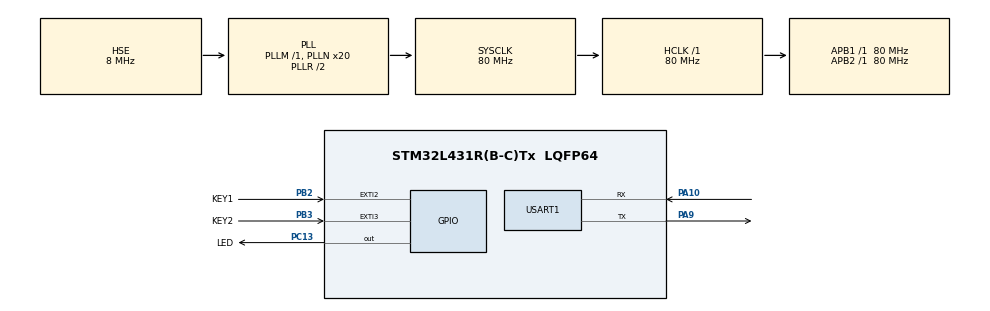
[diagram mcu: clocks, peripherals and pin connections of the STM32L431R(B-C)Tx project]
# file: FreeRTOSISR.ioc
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Dma.Request0=USART1_RX
Dma.Request1=USART1_TX
Dma.USART1_RX.0.Direction=DMA_PERIPH_TO_MEMORY
Dma.USART1_RX.0.Instance=DMA1_Channel5
Dma.USART1_RX.0.MemDataAlignment=DMA_MDATAALIGN_BYTE
Dma.USART1_RX.0.MemInc=DMA_MINC_ENABLE
Dma.USART1_RX.0.Mode=DMA_CIRCULAR
Dma.USART1_RX.0.PeriphDataAlignment=DMA_PDATAALIGN_BYTE
Dma.USART1_RX.0.PeriphInc=DMA_PINC_DISABLE
Dma.USART1_RX.0.Priority=DMA_PRIORITY_LOW
Dma.USART1_TX.1.Direction=DMA_MEMORY_TO_PERIPH
Dma.USART1_TX.1.Instance=DMA1_Channel4
Dma.USART1_TX.1.MemDataAlignment=DMA_MDATAALIGN_BYTE
Dma.USART1_TX.1.MemInc=DMA_MINC_ENABLE
Dma.USART1_TX.1.Mode=DMA_NORMAL
Dma.USART1_TX.1.PeriphDataAlignment=DMA_PDATAALIGN_BYTE
Dma.USART1_TX.1.PeriphInc=DMA_PINC_DISABLE
Dma.USART1_TX.1.Priority=DMA_PRIORITY_LOW
FREERTOS.BinarySemaphores01=BinarySem,Dynamic,NULL
FREERTOS.Queues01=TestQueue,4,uint16_t,0,Dynamic,NULL,NULL
FREERTOS.Tasks01=LEDTASK,0,128,LedTask,Default,NULL,Dynamic,NULL,NULL;KEYTASK,-3,128,KeyTask,Default,NULL,Dynamic,NULL,NULL
Mcu.Family=STM32L4
Mcu.Name=STM32L431R(B-C)Tx
Mcu.Package=LQFP64
NVIC.DMA1_Channel4_IRQn=true\:5\:0\:false\:false\:true\:true\:false\:true
NVIC.DMA1_Channel5_IRQn=true\:7\:0\:true\:false\:true\:true\:false\:true
NVIC.EXTI2_IRQn=true\:5\:0\:true\:false\:true\:true\:true\:true
NVIC.EXTI3_IRQn=true\:6\:0\:true\:false\:true\:true\:true\:true
NVIC.PriorityGroup=NVIC_PRIORITYGROUP_4
NVIC.TIM1_UP_TIM16_IRQn=true\:0\:0\:false\:false\:true\:false\:false\:true
NVIC.TimeBase=TIM1_UP_TIM16_IRQn
NVIC.TimeBaseIP=TIM1
NVIC.USART1_IRQn=true\:5\:0\:false\:false\:true\:true\:true\:true
PA10.Mode=Asynchronous
PA10.Signal=USART1_RX
PA9.Mode=Asynchronous
PA9.Signal=USART1_TX
PB2.GPIO_Label=KEY1
PB2.GPIO_ModeDefaultEXTI=GPIO_MODE_IT_FALLING
PB2.GPIO_PuPd=GPIO_PULLUP
PB2.Signal=GPXTI2
PB3\ (JTDO-TRACESWO).GPIO_Label=KEY2
PB3\ (JTDO-TRACESWO).GPIO_ModeDefaultEXTI=GPIO_MODE_IT_FALLING
PB3\ (JTDO-TRACESWO).GPIO_PuPd=GPIO_PULLUP
PB3\ (JTDO-TRACESWO).Signal=GPXTI3
PC13.GPIO_Label=LED
PC13.Signal=GPIO_Output
PC14-OSC32_IN\ (PC14).Mode=LSE-External-Oscillator
PC14-OSC32_IN\ (PC14).Signal=RCC_OSC32_IN
PC15-OSC32_OUT\ (PC15).Mode=LSE-External-Oscillator
PC15-OSC32_OUT\ (PC15).Signal=RCC_OSC32_OUT
PH0-OSC_IN\ (PH0).Mode=HSE-External-Oscillator
PH0-OSC_IN\ (PH0).Signal=RCC_OSC_IN
PH1-OSC_OUT\ (PH1).Mode=HSE-External-Oscillator
PH1-OSC_OUT\ (PH1).Signal=RCC_OSC_OUT
ProjectManager.HeapSize=0x200
ProjectManager.StackSize=0x400
ProjectManager.TargetToolchain=SW4STM32
RCC.ADCFreq_Value=32000000
RCC.AHBFreq_Value=80000000
RCC.APB1Freq_Value=80000000
RCC.APB1TimFreq_Value=80000000
RCC.APB2Freq_Value=80000000
RCC.APB2TimFreq_Value=80000000
RCC.CortexFreq_Value=80000000
RCC.HCLKFreq_Value=80000000
RCC.HSE_VALUE=8000000
RCC.HSI48_VALUE=48000000
RCC.HSI_VALUE=16000000
RCC.MSI_VALUE=4000000
RCC.PLLN=20
RCC.PLLSourceVirtual=RCC_PLLSOURCE_HSE
RCC.SYSCLKFreq_VALUE=80000000
RCC.SYSCLKSource=RCC_SYSCLKSOURCE_PLLCLK
RCC.VCOOutputFreq_Value=160000000
USART1.VirtualMode-Asynchronous=VM_ASYNC
VP_FREERTOS_VS_CMSIS_V1.Mode=CMSIS_V1
VP_SYS_VS_tim1.Mode=TIM1
board=custom

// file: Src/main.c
/* USER CODE BEGIN Header */
/**
  ******************************************************************************
  * @file           : main.c
  * @brief          : Main program body
  ******************************************************************************
  * @attention
  *
  * <h2><center>&copy; Copyright (c) 2020 STMicroelectronics.
  * All rights reserved.</center></h2>
  *
  * This software component is licensed by ST under Ultimate Liberty license
  * SLA0044, the "License"; You may not use this file except in compliance with
  * the License. You may obtain a copy of the License at:
  *                             www.st.com/SLA0044
  *
  ******************************************************************************
  */
/* USER CODE END Header */

#include "main.h"
#include "cmsis_os.h"
#include "dma.h"
#include "usart.h"
#include "gpio.h"

/* USER CODE BEGIN Includes */
#if 1
#include <stdio.h>
int _write(int fd, char *ptr, int len)
{
    HAL_UART_Transmit(&huart1,(uint8_t*)ptr, len, 0xFFFF);
    return len;
}

#endif
/* USER CODE END Includes */

/* USER CODE BEGIN PTD */
char Usart_Rx_Buf;
/* USER CODE END PTD */

void SystemClock_Config(void);
void MX_FREERTOS_Init(void);

int main(void)
{

  /* MCU Configuration--------------------------------------------------------*/

  /* Reset of all peripherals, Initializes the Flash interface and the Systick. */
  HAL_Init();

  /* Configure the system clock */
  SystemClock_Config();

  /* Initialize all configured peripherals */
  MX_GPIO_Init();
  MX_DMA_Init();
  MX_USART1_UART_Init();
  /* USER CODE BEGIN 2 */
  HAL_UART_Receive_IT(&huart1, &Usart_Rx_Buf, 1);
  HAL_UART_Receive_DMA(&huart1, &Usart_Rx_Buf, 1); //使能DMA接收

  printf("FreeRTOS ISR Demo\n");
  HAL_UART_Transmit_DMA(&huart1, "aaaa\n", 5);

  /* USER CODE END 2 */

  /* Call init function for freertos objects (in freertos.c) */
  MX_FREERTOS_Init();

  /* Start scheduler */
  osKernelStart();

  /* We should never get here as control is now taken by the scheduler */

  /* Infinite loop */
  while (1)
  {

  }
}

void SystemClock_Config(void)
{
  RCC_OscInitTypeDef RCC_OscInitStruct = {0};
  RCC_ClkInitTypeDef RCC_ClkInitStruct = {0};
  RCC_PeriphCLKInitTypeDef PeriphClkInit = {0};

  /** Initializes the CPU, AHB and APB busses clocks
  */
  RCC_OscInitStruct.OscillatorType = RCC_OSCILLATORTYPE_HSE;
  RCC_OscInitStruct.HSEState = RCC_HSE_ON;
  RCC_OscInitStruct.PLL.PLLState = RCC_PLL_ON;
  RCC_OscInitStruct.PLL.PLLSource = RCC_PLLSOURCE_HSE;
  RCC_OscInitStruct.PLL.PLLM = 1;
  RCC_OscInitStruct.PLL.PLLN = 20;
  RCC_OscInitStruct.PLL.PLLP = RCC_PLLP_DIV7;
  RCC_OscInitStruct.PLL.PLLQ = RCC_PLLQ_DIV2;
  RCC_OscInitStruct.PLL.PLLR = RCC_PLLR_DIV2;
  if (HAL_RCC_OscConfig(&RCC_OscInitStruct) != HAL_OK)
  {
    Error_Handler();
  }
  /** Initializes the CPU, AHB and APB busses clocks
  */
  RCC_ClkInitStruct.ClockType = RCC_CLOCKTYPE_HCLK|RCC_CLOCKTYPE_SYSCLK
                              |RCC_CLOCKTYPE_PCLK1|RCC_CLOCKTYPE_PCLK2;
  RCC_ClkInitStruct.SYSCLKSource = RCC_SYSCLKSOURCE_PLLCLK;
  RCC_ClkInitStruct.AHBCLKDivider = RCC_SYSCLK_DIV1;
  RCC_ClkInitStruct.APB1CLKDivider = RCC_HCLK_DIV1;
  RCC_ClkInitStruct.APB2CLKDivider = RCC_HCLK_DIV1;

  if (HAL_RCC_ClockConfig(&RCC_ClkInitStruct, FLASH_LATENCY_4) != HAL_OK)
  {
    Error_Handler();
  }
  PeriphClkInit.PeriphClockSelection = RCC_PERIPHCLK_USART1;
  PeriphClkInit.Usart1ClockSelection = RCC_USART1CLKSOURCE_PCLK2;
  if (HAL_RCCEx_PeriphCLKConfig(&PeriphClkInit) != HAL_OK)
  {
    Error_Handler();
  }
  /** Configure the main internal regulator output voltage
  */
  if (HAL_PWREx_ControlVoltageScaling(PWR_REGULATOR_VOLTAGE_SCALE1) != HAL_OK)
  {
    Error_Handler();
  }
}

/* USER CODE BEGIN 4 */
void HAL_UART_RxCpltCallback(UART_HandleTypeDef *huart)
{
    printf("Call DMA Interrupt\n");
    HAL_UART_Transmit_DMA(&huart1, &Usart_Rx_Buf, 1);
    HAL_UART_Receive_DMA(&huart1, &Usart_Rx_Buf, 1);
}

/* USER CODE END 4 */

void HAL_TIM_PeriodElapsedCallback(TIM_HandleTypeDef *htim)
{
  if (htim->Instance == TIM1) {
    HAL_IncTick();
  }
}

void Error_Handler(void)
{
}

/************************ (C) COPYRIGHT STMicroelectronics *****END OF FILE****/

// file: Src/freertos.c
/* USER CODE BEGIN Header */
/**
  ******************************************************************************
  * File Name          : freertos.c
  * Description        : Code for freertos applications
  ******************************************************************************
  * @attention
  *
  * <h2><center>&copy; Copyright (c) 2020 STMicroelectronics.
  * All rights reserved.</center></h2>
  *
  * This software component is licensed by ST under Ultimate Liberty license
  * SLA0044, the "License"; You may not use this file except in compliance with
  * the License. You may obtain a copy of the License at:
  *                             www.st.com/SLA0044
  *
  ******************************************************************************
  */
/* USER CODE END Header */

#include "FreeRTOS.h"
#include "task.h"
#include "main.h"
#include "cmsis_os.h"

/* USER CODE BEGIN Includes */
#include <stdio.h>
/* USER CODE END Includes */

/* USER CODE BEGIN Variables */
#define UASRT_RBUFF_SIZE  64

/* USER CODE END Variables */
osThreadId LEDTASKHandle;
osThreadId KEYTASKHandle;
osMessageQId TestQueueHandle;
osSemaphoreId BinarySemHandle;

void LedTask(void const * argument);
void KeyTask(void const * argument);

void MX_FREERTOS_Init(void); /* (MISRA C 2004 rule 8.1) */

/* GetIdleTaskMemory prototype (linked to static allocation support) */
void vApplicationGetIdleTaskMemory( StaticTask_t **ppxIdleTaskTCBBuffer, StackType_t **ppxIdleTaskStackBuffer, uint32_t *pulIdleTaskStackSize );

/* USER CODE BEGIN GET_IDLE_TASK_MEMORY */
static StaticTask_t xIdleTaskTCBBuffer;
static StackType_t xIdleStack[configMINIMAL_STACK_SIZE];

void vApplicationGetIdleTaskMemory( StaticTask_t **ppxIdleTaskTCBBuffer, StackType_t **ppxIdleTaskStackBuffer, uint32_t *pulIdleTaskStackSize )
{
  *ppxIdleTaskTCBBuffer = &xIdleTaskTCBBuffer;
  *ppxIdleTaskStackBuffer = &xIdleStack[0];
  *pulIdleTaskStackSize = configMINIMAL_STACK_SIZE;
  /* place for user code */
}
/* USER CODE END GET_IDLE_TASK_MEMORY */

void MX_FREERTOS_Init(void) {

  /* Create the semaphores(s) */
  /* definition and creation of BinarySem */
  osSemaphoreDef(BinarySem);
  BinarySemHandle = osSemaphoreCreate(osSemaphore(BinarySem), 1);

  /* Create the queue(s) */
  /* definition and creation of TestQueue */
  osMessageQDef(TestQueue, 4, uint16_t);
  TestQueueHandle = osMessageCreate(osMessageQ(TestQueue), NULL);

  /* Create the thread(s) */
  /* definition and creation of LEDTASK */
  osThreadDef(LEDTASK, LedTask, osPriorityNormal, 0, 128);
  LEDTASKHandle = osThreadCreate(osThread(LEDTASK), NULL);

  /* definition and creation of KEYTASK */
  osThreadDef(KEYTASK, KeyTask, osPriorityIdle, 0, 128);
  KEYTASKHandle = osThreadCreate(osThread(KEYTASK), NULL);

}

void LedTask(void const * argument)
{
  /* USER CODE BEGIN LedTask */
  BaseType_t xReturn = pdPASS;
  uint32_t r_queue;
  /* Infinite loop */
  for(;;)
  {
      xReturn = xQueueReceive(TestQueueHandle, &r_queue, portMAX_DELAY);
      if(xReturn == pdPASS){
          printf("触发中断的是KEY%d\n", r_queue);
      }
      else{
          printf("接收数据出错\n");
      }
      HAL_GPIO_TogglePin(LED_GPIO_Port, LED_Pin);
    osDelay(1);
  }
  /* USER CODE END LedTask */
}

void KeyTask(void const * argument)
{
  /* USER CODE BEGIN KeyTask */
  BaseType_t xReturn = pdPASS;
  /* Infinite loop */
  for(;;)
  {
//      xReturn = xSemaphoreTake(BinarySemHandle, portMAX_DELAY);
//      if(xReturn == pdPASS){
//          printf("收到数据%s\n", Usart_Rx_Buf);
//          memset(Usart_Rx_Buf, 0, UASRT_RBUFF_SIZE);
//      }
    osDelay(1);
  }
  /* USER CODE END KeyTask */
}

/************************ (C) COPYRIGHT STMicroelectronics *****END OF FILE****/
